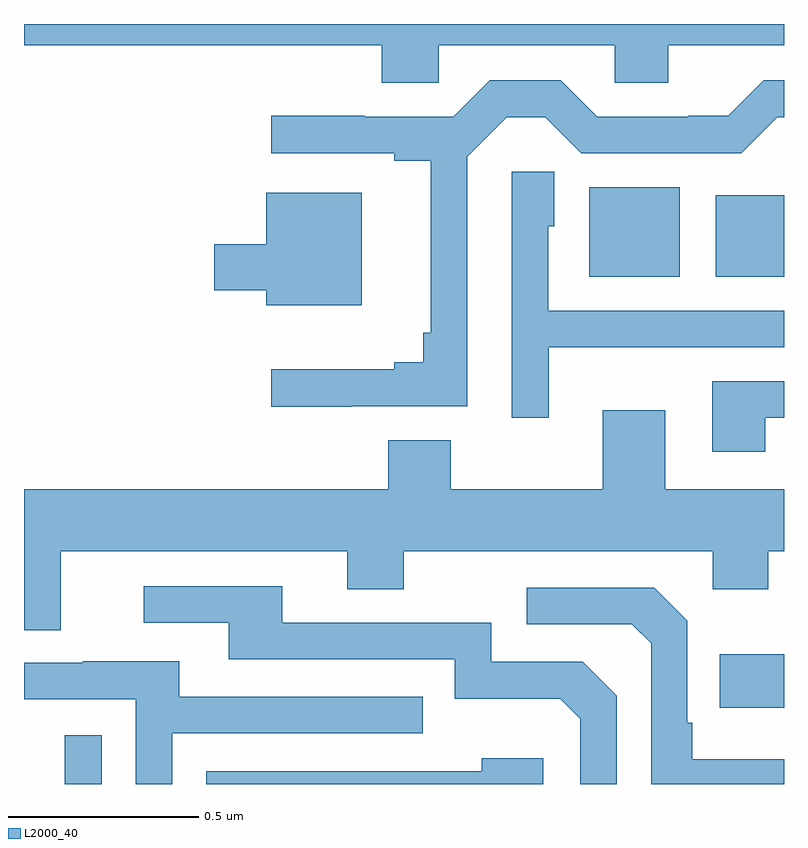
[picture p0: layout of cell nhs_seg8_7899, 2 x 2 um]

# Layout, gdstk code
import gdstk
lib = gdstk.Library(unit=1e-6, precision=1e-09)
def R(c, l, rs):  # rectangles x0, y0, x1, y1
    for r in rs: c.add(gdstk.rectangle(r[:2], r[2:], *l))
def P(c, l, *ps):  # polygons
    for p in ps: c.add(gdstk.Polygon(p, *l))
L2000_40 = (2000, 40)

nhs_seg8_7899 = lib.new_cell('nhs_seg8_7899')
R(nhs_seg8_7899, L2000_40, [(216.107,1103.9,216.204,1104.028), (217.831,1104.101,218,1104.241), (217.487,1105.235,217.726,1105.471), (217.82,1105.235,218,1105.45)])
P(nhs_seg8_7899, L2000_40, [(217.092,1105.844),(217.554,1105.844),(217.554,1105.746),(217.696,1105.746),(217.696,1105.844),(218,1105.844),(218,1105.9),(216,1105.9),(216,1105.844),(216.941,1105.844),(216.941,1105.746),(217.092,1105.746)],
  [(216.863,1104.894),(217.167,1104.894),(217.167,1105.551),(217.271,1105.655),(217.372,1105.655),(217.467,1105.56),(217.887,1105.56),(217.982,1105.655),(218,1105.655),(218,1105.752),(217.947,1105.752),(217.853,1105.658),(217.748,1105.658),(217.748,1105.656),(217.509,1105.656),(217.413,1105.752),(217.226,1105.752),(217.13,1105.656),(216.897,1105.656),(216.897,1105.658),(216.651,1105.658),(216.651,1105.56),(216.974,1105.56),(216.974,1105.54),(217.07,1105.54),(217.07,1105.087),(217.051,1105.087),(217.051,1105.01),(216.974,1105.01),(216.974,1104.991),(216.651,1104.991),(216.651,1104.893),(216.863,1104.893)],
  [(217.381,1105.049),(217.715,1105.049),(217.715,1105.05),(218,1105.05),(218,1105.146),(217.38,1105.146),(217.38,1105.368),(217.396,1105.368),(217.396,1105.511),(217.284,1105.511),(217.284,1104.864),(217.381,1104.864)],
  [(216.889,1105.456),(216.638,1105.456),(216.638,1105.321),(216.501,1105.321),(216.501,1105.199),(216.638,1105.199),(216.638,1105.16),(216.889,1105.16)],
  [(217.951,1104.864),(218,1104.864),(218,1104.96),(217.811,1104.96),(217.811,1104.774),(217.951,1104.774)],
  [(216.097,1104.512),(216.851,1104.512),(216.851,1104.413),(216.999,1104.413),(216.999,1104.512),(217.812,1104.512),(217.812,1104.413),(217.959,1104.413),(217.959,1104.512),(218,1104.512),(218,1104.676),(217.687,1104.676),(217.687,1104.883),(217.523,1104.883),(217.523,1104.676),(217.123,1104.676),(217.123,1104.805),(216.959,1104.805),(216.959,1104.676),(216,1104.676),(216,1104.304),(216.097,1104.304)],
  [(217.56,1104.132),(217.47,1104.222),(217.23,1104.222),(217.23,1104.324),(216.679,1104.324),(216.679,1104.42),(216.315,1104.42),(216.315,1104.324),(216.539,1104.324),(216.539,1104.228),(217.134,1104.228),(217.134,1104.125),(217.411,1104.125),(217.464,1104.072),(217.464,1103.9),(217.56,1103.9)],
  [(218,1103.965),(217.759,1103.965),(217.759,1104.061),(217.746,1104.061),(217.746,1104.33),(217.659,1104.417),(217.323,1104.417),(217.323,1104.321),(217.599,1104.321),(217.65,1104.27),(217.65,1103.9),(218,1103.9)],
  [(216.39,1104.033),(217.049,1104.033),(217.049,1104.129),(216.409,1104.129),(216.409,1104.223),(216.155,1104.223),(216.155,1104.219),(216,1104.219),(216,1104.123),(216.294,1104.123),(216.294,1103.9),(216.39,1103.9)],
  [(217.366,1103.968),(217.205,1103.968),(217.205,1103.934),(216.48,1103.934),(216.48,1103.9),(217.366,1103.9)])

lib.write_gds('nhs_seg8_7899.gds')
